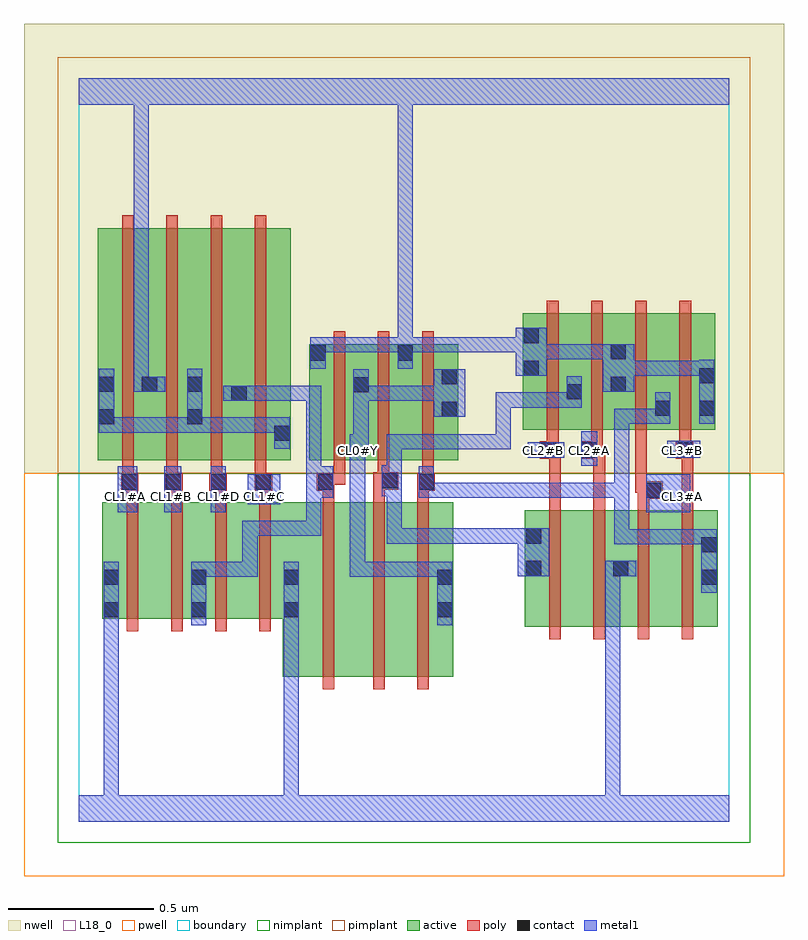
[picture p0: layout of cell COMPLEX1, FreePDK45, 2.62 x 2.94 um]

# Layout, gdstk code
import gdstk
lib = gdstk.Library(unit=1e-6, precision=1e-09)
def R(c, l, rs):  # rectangles x0, y0, x1, y1
    for r in rs: c.add(gdstk.rectangle(r[:2], r[2:], *l))
def A(c, l, x, y, w, h, nx, ny, dx, dy):  # array of equal rectangles
    R(c, l, [(x+i*dx, y+j*dy, x+i*dx+w, y+j*dy+h) for i in range(nx) for j in range(ny)])
active = (1, 0)
pwell = (2, 0)
nwell = (3, 0)
nimplant = (4, 0)
pimplant = (5, 0)
poly = (9, 0)
contact = (10, 0)
metal1 = (11, 0)
L18_0 = (18, 0)
boundary = (235, 0)

complex1 = lib.new_cell('COMPLEX1')
A(complex1, active, 1.676, 1.35, 0.212, 0.4, 3, 1, 0.152, 0)
R(complex1, active, [(0.702,0.5,0.958,1.1), (0.958,0.5,1.11,1.1), (1.11,0.5,1.29,1.1), (1.23,0.5,1.29,1.1), (1.536,0.672,1.596,1.072), (1.536,0.672,1.716,1.072), (1.716,0.672,1.896,1.072), (1.836,0.672,2.02,1.072), (1.836,0.672,1.896,0.902), (2.02,0.672,2.2,1.072), (2.14,0.672,2.2,1.072), (0.082,0.7,0.142,1.1), (0.082,0.7,0.262,1.1), (0.262,0.7,0.444,1.1), (0.384,0.7,0.444,1.1), (0.384,0.7,0.566,1.1), (0.566,0.7,0.762,1.1), (0.702,0.7,0.762,0.872), (0.066,1.244,0.126,2.044), (0.066,1.244,0.274,2.044), (0.214,1.244,0.43,2.044), (0.37,1.244,0.43,2.044), (0.37,1.244,0.582,2.044), (0.522,1.244,0.73,2.044), (0.67,1.244,0.73,2.044), (0.794,1.244,1.002,1.644), (0.942,1.244,1.154,1.644), (1.094,1.244,1.306,1.644), (1.246,1.244,1.306,1.644), (1.528,1.35,1.588,1.75), (1.528,1.35,1.736,1.75), (2.132,1.35,2.192,1.75), (0.522,1.356,0.582,2.044), (1.094,1.366,1.154,1.644), (0.214,1.382,0.274,2.044), (1.98,1.394,2.04,1.644), (1.676,1.416,1.736,1.7), (0.794,1.452,0.854,1.644), (1.828,1.47,1.888,1.75), (0.942,1.474,1.002,1.644)])
R(complex1, pwell, [(-0.188,-0.188,2.428,1.2)])
R(complex1, nwell, [(-0.188,1.2,2.428,2.748)])
R(complex1, nimplant, [(-0.072,-0.072,2.312,1.2)])
R(complex1, pimplant, [(-0.072,1.2,2.312,2.632)])
A(complex1, poly, 1.62, 0.628, 0.04, 0.488, 4, 1, 0.152, 0)
A(complex1, poly, 0.166, 0.656, 0.04, 0.488, 4, 1, 0.152, 0)
A(complex1, poly, 0.166, 1.104, 0.04, 0.076, 4, 1, 0.152, 0)
A(complex1, poly, 0.146, 1.14, 0.06, 0.06, 3, 1, 0.152, 0)
A(complex1, poly, 0.15, 1.16, 0.04, 0.08, 4, 1, 0.152, 0)
A(complex1, poly, 0.15, 1.2, 0.04, 0.888, 4, 1, 0.152, 0)
A(complex1, poly, 0.878, 1.2, 0.04, 0.488, 3, 1, 0.152, 0)
A(complex1, poly, 1.612, 1.306, 0.04, 0.488, 4, 1, 0.152, 0)
R(complex1, poly, [(0.84,0.456,0.88,1.144), (1.014,0.456,1.054,1.144), (1.166,0.456,1.206,1.144), (1.62,1.076,1.66,1.29), (1.772,1.076,1.812,1.29), (1.924,1.076,1.964,1.152), (2.076,1.076,2.116,1.29), (0.84,1.104,0.88,1.18), (1.014,1.104,1.054,1.184), (1.166,1.104,1.206,1.18), (1.924,1.112,2.01,1.172), (1.916,1.132,1.956,1.346), (1.916,1.132,1.964,1.172), (1.924,1.132,1.964,1.172), (0.606,1.14,0.666,1.2), (0.622,1.14,0.662,1.18), (0.622,1.14,0.662,1.18), (0.82,1.14,0.88,1.2), (1.166,1.14,1.226,1.2), (1.014,1.144,1.1,1.204), (0.15,1.16,0.19,1.2), (0.15,1.16,0.19,1.2), (0.302,1.16,0.342,1.2), (0.302,1.16,0.342,1.2), (0.454,1.16,0.494,1.2), (0.454,1.16,0.494,1.2), (0.84,1.16,0.88,1.2), (0.84,1.16,0.918,1.2), (0.878,1.16,0.918,1.24), (1.182,1.16,1.222,1.2), (1.182,1.16,1.222,1.2), (1.182,1.16,1.222,1.24), (1.03,1.164,1.07,1.24), (1.03,1.164,1.07,1.204), (1.03,1.164,1.07,1.204), (1.588,1.25,1.652,1.31), (1.612,1.25,1.652,1.29), (1.612,1.25,1.66,1.29), (1.73,1.25,1.804,1.31), (1.764,1.25,1.804,1.29), (1.764,1.25,1.812,1.29), (2.056,1.25,2.116,1.31), (2.076,1.25,2.116,1.29), (2.076,1.25,2.116,1.29), (1.612,1.27,1.652,1.346), (1.764,1.27,1.804,1.346), (2.068,1.27,2.108,1.346)])
A(complex1, contact, 0.15, 1.144, 0.052, 0.052, 3, 1, 0.152, 0)
R(complex1, contact, [(0.086,0.704,0.138,0.756), (0.388,0.704,0.44,0.756), (0.706,0.704,0.758,0.756), (1.234,0.704,1.286,0.756), (0.086,0.816,0.138,0.868), (0.388,0.816,0.44,0.868), (0.706,0.816,0.758,0.868), (1.234,0.816,1.286,0.868), (2.144,0.816,2.196,0.868), (1.54,0.846,1.592,0.898), (1.84,0.846,1.892,0.898), (2.144,0.928,2.196,0.98), (1.54,0.958,1.592,1.01), (1.954,1.116,2.006,1.168), (0.61,1.144,0.662,1.196), (0.824,1.144,0.876,1.196), (1.17,1.144,1.222,1.196), (1.044,1.148,1.096,1.2), (1.592,1.254,1.644,1.306), (1.734,1.254,1.786,1.306), (2.06,1.254,2.112,1.306), (0.674,1.312,0.726,1.364), (0.07,1.368,0.122,1.42), (0.374,1.368,0.426,1.42), (1.25,1.394,1.302,1.446), (1.984,1.398,2.036,1.45), (2.136,1.398,2.188,1.45), (0.526,1.45,0.578,1.502), (1.68,1.454,1.732,1.506), (0.946,1.478,0.998,1.53), (0.07,1.48,0.122,1.532), (0.218,1.48,0.27,1.532), (0.374,1.48,0.426,1.532), (1.832,1.48,1.884,1.532), (1.25,1.506,1.302,1.558), (2.136,1.51,2.188,1.562), (1.532,1.536,1.584,1.588), (0.798,1.588,0.85,1.64), (1.098,1.588,1.15,1.64), (1.832,1.592,1.884,1.644), (1.532,1.648,1.584,1.7)])
A(complex1, metal1, 0.564, 1.45, 0.052, 0.052, 3, 1, 0.11, 0)
R(complex1, metal1, [(0,0,2.24,0.092), (0.086,0.04,0.138,0.092), (0.086,0.04,0.138,0.092), (0.086,0.04,0.138,0.092), (0.086,0.04,0.138,0.092), (0.086,0.04,0.138,0.092), (0.086,0.04,0.138,0.092), (0.086,0.04,0.138,0.728), (0.706,0.04,0.758,0.092), (0.706,0.04,0.758,0.092), (0.706,0.04,0.758,0.092), (0.706,0.04,0.758,0.092), (0.706,0.04,0.758,0.092), (0.706,0.04,0.758,0.092), (0.706,0.04,0.758,0.728), (1.812,0.04,1.864,0.092), (1.812,0.04,1.864,0.092), (1.812,0.04,1.864,0.092), (1.812,0.04,1.864,0.092), (1.812,0.04,1.864,0.092), (1.812,0.04,1.864,0.092), (1.812,0.04,1.864,0.092), (1.812,0.04,1.864,0.092), (1.812,0.04,1.864,0.092), (1.812,0.04,1.864,0.092), (1.812,0.04,1.864,0.092), (1.812,0.04,1.864,0.092), (1.812,0.04,1.864,0.898), (0.086,0.676,0.138,0.896), (0.086,0.676,0.138,0.728), (0.086,0.676,0.138,0.728), (0.086,0.676,0.138,0.728), (0.086,0.676,0.138,0.728), (0.086,0.676,0.138,0.728), (0.086,0.676,0.138,0.728), (0.388,0.676,0.44,0.896), (0.706,0.676,0.758,0.896), (0.706,0.676,0.758,0.728), (0.706,0.676,0.758,0.728), (1.234,0.676,1.286,0.896), (2.144,0.788,2.196,1.008), (0.388,0.844,0.44,0.896), (0.388,0.844,0.44,0.896), (0.388,0.844,0.616,0.896), (0.564,0.844,0.616,0.896), (0.564,0.844,0.616,1.036), (0.934,0.844,0.986,0.896), (0.934,0.844,0.986,0.896), (0.934,0.844,0.986,0.896), (0.934,0.844,0.986,0.896), (0.934,0.844,0.986,0.896), (0.934,0.844,1.15,0.896), (0.934,0.844,0.986,1.278), (1.098,0.844,1.15,0.896), (1.098,0.844,1.286,0.896), (1.234,0.844,1.286,0.896), (1.234,0.844,1.286,0.896), (1.512,0.846,1.62,1.01), (1.812,0.846,1.92,0.898), (1.844,0.956,1.896,1.008), (1.844,0.956,1.896,1.008), (1.844,0.956,1.896,1.008), (1.844,0.956,2.078,1.008), (1.844,0.956,1.896,1.168), (2.026,0.956,2.196,1.008), (2.026,0.956,2.078,1.008), (2.026,0.956,2.078,1.008), (2.026,0.956,2.078,1.008), (1.06,0.958,1.112,1.01), (1.06,0.958,1.378,1.01), (1.06,0.958,1.112,1.228), (1.326,0.958,1.378,1.01), (1.326,0.958,1.378,1.01), (1.326,0.958,1.378,1.01), (1.326,0.958,1.564,1.01), (0.564,0.984,0.726,1.036), (0.564,0.984,0.616,1.036), (0.564,0.984,0.616,1.036), (0.564,0.984,0.616,1.036), (0.674,0.984,0.836,1.036), (0.674,0.984,0.726,1.036), (0.784,0.984,0.836,1.168), (0.134,1.066,0.202,1.224), (0.294,1.066,0.354,1.224), (0.454,1.066,0.506,1.224), (1.954,1.066,2.106,1.196), (0.582,1.094,0.694,1.196), (0.784,1.116,0.876,1.168), (0.784,1.116,0.836,1.502), (0.824,1.116,0.876,1.224), (1.17,1.116,1.222,1.224), (1.17,1.116,1.26,1.168), (1.208,1.116,1.26,1.168), (1.208,1.116,1.622,1.168), (1.57,1.116,1.732,1.168), (1.57,1.116,1.622,1.168), (1.57,1.116,1.622,1.168), (1.57,1.116,1.622,1.168), (1.68,1.116,1.732,1.168), (1.68,1.116,1.732,1.168), (1.68,1.116,1.732,1.168), (1.68,1.116,1.896,1.168), (1.844,1.116,1.896,1.168), (1.844,1.116,1.896,1.168), (1.844,1.116,1.896,1.168), (1.844,1.116,1.896,1.422), (1.044,1.12,1.096,1.228), (1.044,1.176,1.112,1.228), (1.06,1.176,1.112,1.228), (1.06,1.176,1.112,1.334), (0.934,1.226,0.986,1.334), (1.73,1.226,1.786,1.344), (1.546,1.254,1.672,1.306), (2.026,1.254,2.14,1.312), (0.934,1.282,0.986,1.334), (0.934,1.282,0.998,1.334), (0.946,1.282,0.998,1.502), (1.06,1.282,1.112,1.334), (1.06,1.282,1.378,1.334), (1.326,1.282,1.488,1.334), (1.326,1.282,1.378,1.334), (1.326,1.282,1.378,1.334), (1.326,1.282,1.378,1.334), (1.436,1.282,1.488,1.334), (1.436,1.282,1.488,1.478), (0.674,1.284,0.726,1.392), (0.07,1.34,0.122,1.56), (0.07,1.34,0.122,1.392), (0.07,1.34,0.122,1.392), (0.07,1.34,0.316,1.392), (0.264,1.34,0.426,1.392), (0.264,1.34,0.316,1.392), (0.264,1.34,0.316,1.392), (0.264,1.34,0.316,1.392), (0.374,1.34,0.426,1.56), (0.374,1.34,0.426,1.392), (0.374,1.34,0.426,1.392), (0.374,1.34,0.616,1.392), (0.564,1.34,0.726,1.392), (0.564,1.34,0.616,1.392), (0.564,1.34,0.616,1.392), (0.564,1.34,0.616,1.392), (1.844,1.37,1.896,1.422), (1.844,1.37,1.896,1.422), (1.844,1.37,1.896,1.422), (1.844,1.37,2.036,1.422), (1.984,1.37,2.036,1.478), (2.136,1.37,2.188,1.59), (1.222,1.394,1.33,1.558), (1.436,1.426,1.488,1.478), (1.436,1.426,1.488,1.478), (1.436,1.426,1.488,1.478), (1.436,1.426,1.732,1.478), (1.68,1.426,1.732,1.534), (0.498,1.45,0.606,1.502), (0.554,1.45,0.616,1.502), (0.564,1.45,0.726,1.502), (0.674,1.45,0.836,1.502), (0.784,1.45,0.836,1.502), (0.784,1.45,0.836,1.502), (0.784,1.45,0.836,1.502), (0.784,1.45,0.836,1.502), (0.946,1.45,0.998,1.502), (0.946,1.45,0.998,1.502), (0.946,1.45,0.998,1.558), (0.946,1.45,1.15,1.502), (1.098,1.45,1.15,1.502), (1.098,1.45,1.274,1.502), (1.222,1.45,1.274,1.502), (1.222,1.45,1.274,1.502), (0.19,1.48,0.298,1.532), (0.19,1.48,0.242,2.52), (1.804,1.48,1.912,1.644), (1.504,1.536,1.612,1.7), (1.86,1.536,1.912,1.588), (1.86,1.536,1.912,1.588), (1.86,1.536,2.078,1.588), (2.026,1.536,2.188,1.588), (2.026,1.536,2.078,1.588), (2.026,1.536,2.078,1.588), (2.026,1.536,2.078,1.588), (0.798,1.56,0.85,1.668), (1.098,1.56,1.15,1.668), (1.56,1.592,1.612,1.644), (1.56,1.592,1.612,1.644), (1.56,1.592,1.732,1.644), (1.68,1.592,1.732,1.644), (1.68,1.592,1.732,1.644), (1.68,1.592,1.732,1.644), (1.68,1.592,1.856,1.644), (0.798,1.616,0.85,1.668), (0.798,1.616,0.85,1.668), (0.798,1.616,0.986,1.668), (0.934,1.616,0.986,1.668), (0.934,1.616,0.986,1.668), (0.934,1.616,0.986,1.668), (0.934,1.616,1.15,1.668), (1.098,1.616,1.15,1.668), (1.098,1.616,1.15,1.668), (1.098,1.616,1.378,1.668), (1.098,1.616,1.15,2.52), (1.326,1.616,1.378,1.668), (1.326,1.616,1.378,1.668), (1.326,1.616,1.378,1.668), (1.326,1.616,1.556,1.668), (0,2.468,2.24,2.56), (0.19,2.468,0.242,2.52), (0.19,2.468,0.242,2.52), (0.19,2.468,0.242,2.52), (0.19,2.468,0.242,2.52), (0.19,2.468,0.242,2.52), (0.19,2.468,0.242,2.52), (0.19,2.468,0.242,2.52), (0.19,2.468,0.242,2.52), (1.098,2.468,1.15,2.52), (1.098,2.468,1.15,2.52), (1.098,2.468,1.15,2.52), (1.098,2.468,1.15,2.52), (1.098,2.468,1.15,2.52), (1.098,2.468,1.15,2.52), (1.098,2.468,1.15,2.52), (1.098,2.468,1.15,2.52), (1.098,2.468,1.15,2.52), (1.098,2.468,1.15,2.52), (1.098,2.468,1.15,2.52), (1.098,2.468,1.15,2.52), (1.098,2.468,1.15,2.52), (1.098,2.468,1.15,2.52)])
A(complex1, L18_0, 0.134, 1.094, 0.052, 0.052, 4, 1, 0.16, 0)
R(complex1, L18_0, [(0,0,2.24,0.092), (0.086,0.04,0.138,0.092), (0.086,0.04,0.138,0.092), (0.086,0.04,0.138,0.092), (0.086,0.04,0.138,0.092), (0.086,0.04,0.138,0.092), (0.086,0.04,0.138,0.092), (0.086,0.04,0.138,0.728), (0.706,0.04,0.758,0.092), (0.706,0.04,0.758,0.092), (0.706,0.04,0.758,0.092), (0.706,0.04,0.758,0.092), (0.706,0.04,0.758,0.092), (0.706,0.04,0.758,0.092), (0.706,0.04,0.758,0.728), (1.812,0.04,1.864,0.092), (1.812,0.04,1.864,0.092), (1.812,0.04,1.864,0.092), (1.812,0.04,1.864,0.092), (1.812,0.04,1.864,0.092), (1.812,0.04,1.864,0.092), (1.812,0.04,1.864,0.092), (1.812,0.04,1.864,0.092), (1.812,0.04,1.864,0.092), (1.812,0.04,1.864,0.092), (1.812,0.04,1.864,0.092), (1.812,0.04,1.864,0.092), (1.812,0.04,1.864,0.898), (0.086,0.676,0.138,0.728), (0.086,0.676,0.138,0.728), (0.086,0.676,0.138,0.728), (0.086,0.676,0.138,0.728), (0.086,0.676,0.138,0.728), (0.086,0.676,0.138,0.728), (0.086,0.676,0.138,0.896), (0.706,0.676,0.758,0.728), (0.706,0.676,0.758,0.728), (0.706,0.676,0.758,0.896), (1.234,0.676,1.286,0.896), (0.934,0.844,0.986,0.896), (0.934,0.844,0.986,0.896), (0.934,0.844,0.986,0.896), (0.934,0.844,0.986,0.896), (0.934,0.844,0.986,0.896), (0.934,0.844,0.986,1.278), (0.934,0.844,1.15,0.896), (1.098,0.844,1.15,0.896), (1.098,0.844,1.286,0.896), (1.234,0.844,1.286,0.896), (1.234,0.844,1.286,0.896), (1.812,0.846,1.92,0.898), (0.134,1.066,0.202,1.224), (0.294,1.066,0.354,1.224), (0.454,1.066,0.506,1.224), (1.954,1.066,2.106,1.196), (0.582,1.094,0.694,1.196), (2.054,1.094,2.106,1.146), (0.934,1.226,0.986,1.334), (1.73,1.226,1.786,1.344), (0.934,1.254,0.986,1.306), (1.546,1.254,1.672,1.306), (1.574,1.254,1.626,1.306), (1.734,1.254,1.786,1.306), (2.026,1.254,2.14,1.312), (2.054,1.254,2.106,1.306), (0.934,1.282,0.986,1.334), (0.934,1.282,0.998,1.334), (0.946,1.282,0.998,1.502), (2.136,1.37,2.188,1.59), (1.222,1.394,1.33,1.558), (0.946,1.45,0.998,1.502), (0.946,1.45,0.998,1.502), (0.946,1.45,0.998,1.558), (0.946,1.45,1.15,1.502), (1.098,1.45,1.15,1.502), (1.098,1.45,1.274,1.502), (1.222,1.45,1.274,1.502), (1.222,1.45,1.274,1.502), (0.19,1.48,0.298,1.532), (0.19,1.48,0.242,2.52), (1.804,1.48,1.912,1.644), (1.504,1.536,1.612,1.7), (1.86,1.536,1.912,1.588), (1.86,1.536,1.912,1.588), (1.86,1.536,2.078,1.588), (2.026,1.536,2.078,1.588), (2.026,1.536,2.078,1.588), (2.026,1.536,2.078,1.588), (2.026,1.536,2.188,1.588), (0.798,1.56,0.85,1.668), (1.098,1.56,1.15,1.668), (1.56,1.592,1.612,1.644), (1.56,1.592,1.612,1.644), (1.56,1.592,1.732,1.644), (1.68,1.592,1.732,1.644), (1.68,1.592,1.732,1.644), (1.68,1.592,1.732,1.644), (1.68,1.592,1.856,1.644), (0.798,1.616,0.85,1.668), (0.798,1.616,0.85,1.668), (0.798,1.616,0.986,1.668), (0.934,1.616,0.986,1.668), (0.934,1.616,0.986,1.668), (0.934,1.616,0.986,1.668), (0.934,1.616,1.15,1.668), (1.098,1.616,1.15,1.668), (1.098,1.616,1.15,1.668), (1.098,1.616,1.15,2.52), (1.098,1.616,1.378,1.668), (1.326,1.616,1.378,1.668), (1.326,1.616,1.378,1.668), (1.326,1.616,1.378,1.668), (1.326,1.616,1.556,1.668), (0,2.468,2.24,2.56), (0.19,2.468,0.242,2.52), (0.19,2.468,0.242,2.52), (0.19,2.468,0.242,2.52), (0.19,2.468,0.242,2.52), (0.19,2.468,0.242,2.52), (0.19,2.468,0.242,2.52), (0.19,2.468,0.242,2.52), (0.19,2.468,0.242,2.52), (1.098,2.468,1.15,2.52), (1.098,2.468,1.15,2.52), (1.098,2.468,1.15,2.52), (1.098,2.468,1.15,2.52), (1.098,2.468,1.15,2.52), (1.098,2.468,1.15,2.52), (1.098,2.468,1.15,2.52), (1.098,2.468,1.15,2.52), (1.098,2.468,1.15,2.52), (1.098,2.468,1.15,2.52), (1.098,2.468,1.15,2.52), (1.098,2.468,1.15,2.52), (1.098,2.468,1.15,2.52), (1.098,2.468,1.15,2.52)])
R(complex1, boundary, [(0,0,2.24,2.56)])
complex1.add(gdstk.Label('CL0#Y', (0.96,1.28), layer=11, texttype=0))
complex1.add(gdstk.Label('CL1#A', (0.16,1.12), layer=11, texttype=0))
complex1.add(gdstk.Label('CL1#B', (0.32,1.12), layer=11, texttype=0))
complex1.add(gdstk.Label('CL1#C', (0.64,1.12), layer=11, texttype=0))
complex1.add(gdstk.Label('CL1#D', (0.48,1.12), layer=11, texttype=0))
complex1.add(gdstk.Label('CL2#A', (1.76,1.28), layer=11, texttype=0))
complex1.add(gdstk.Label('CL2#B', (1.6,1.28), layer=11, texttype=0))
complex1.add(gdstk.Label('CL3#A', (2.08,1.12), layer=11, texttype=0))
complex1.add(gdstk.Label('CL3#B', (2.08,1.28), layer=11, texttype=0))

lib.write_gds('COMPLEX1.gds')
